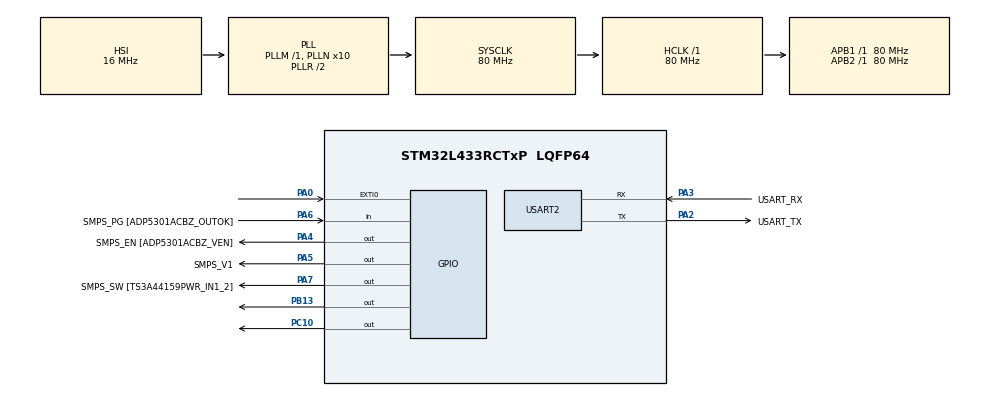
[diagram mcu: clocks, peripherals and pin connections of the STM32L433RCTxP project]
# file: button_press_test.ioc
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Mcu.Family=STM32L4
Mcu.Name=STM32L433RCTxP
Mcu.Package=LQFP64
NVIC.EXTI0_IRQn=true\:0\:0\:false\:false\:true\:true\:true\:true
NVIC.PriorityGroup=NVIC_PRIORITYGROUP_4
PA0.Signal=GPXTI0
PA13\ (JTMS-SWDIO).GPIO_Label=TMS
PA13\ (JTMS-SWDIO).Mode=Serial_Wire
PA13\ (JTMS-SWDIO).Signal=SYS_JTMS-SWDIO
PA14\ (JTCK-SWCLK).GPIO_Label=TCK
PA14\ (JTCK-SWCLK).Mode=Serial_Wire
PA14\ (JTCK-SWCLK).Signal=SYS_JTCK-SWCLK
PA2.GPIO_Label=USART_TX
PA2.GPIO_Mode=GPIO_MODE_AF_PP
PA2.GPIO_PuPd=GPIO_NOPULL
PA2.GPIO_Speed=GPIO_SPEED_FREQ_VERY_HIGH
PA2.Mode=Asynchronous
PA2.Signal=USART2_TX
PA3.GPIO_Label=USART_RX
PA3.GPIO_Mode=GPIO_MODE_AF_PP
PA3.GPIO_PuPd=GPIO_NOPULL
PA3.GPIO_Speed=GPIO_SPEED_FREQ_VERY_HIGH
PA3.Mode=Asynchronous
PA3.Signal=USART2_RX
PA4.GPIO_Label=SMPS_EN [ADP5301ACBZ_VEN]
PA4.Signal=GPIO_Output
PA5.GPIO_Label=SMPS_V1
PA5.GPIO_ModeDefaultOutputPP=GPIO_MODE_OUTPUT_PP
PA5.GPIO_PuPd=GPIO_NOPULL
PA5.GPIO_Speed=GPIO_SPEED_FREQ_LOW
PA5.Signal=GPIO_Output
PA6.GPIO_Label=SMPS_PG [ADP5301ACBZ_OUTOK]
PA6.GPIO_PuPd=GPIO_PULLUP
PA6.Signal=GPIO_Input
PA7.GPIO_Label=SMPS_SW [TS3A44159PWR_IN1_2]
PA7.Signal=GPIO_Output
PB13.Signal=GPIO_Output
PB3\ (JTDO-TRACESWO).GPIO_Label=SWO
PB3\ (JTDO-TRACESWO).Signal=SYS_JTDO-SWO
PC10.Signal=GPIO_Output
PC14-OSC32_IN\ (PC14).Mode=LSE-External-Oscillator
PC14-OSC32_IN\ (PC14).Signal=RCC_OSC32_IN
PC15-OSC32_OUT\ (PC15).Mode=LSE-External-Oscillator
PC15-OSC32_OUT\ (PC15).Signal=RCC_OSC32_OUT
PH0-OSC_IN\ (PH0).GPIO_Label=MCO
PH0-OSC_IN\ (PH0).Mode=HSE-External-Clock-Source
PH0-OSC_IN\ (PH0).Signal=RCC_OSC_IN
PH1-OSC_OUT\ (PH1).Signal=RCC_OSC_OUT
ProjectManager.HeapSize=0x200
ProjectManager.StackSize=0x400
ProjectManager.TargetToolchain=STM32CubeIDE
RCC.ADCFreq_Value=64000000
RCC.AHBFreq_Value=80000000
RCC.APB1Freq_Value=80000000
RCC.APB1TimFreq_Value=80000000
RCC.APB2Freq_Value=80000000
RCC.APB2TimFreq_Value=80000000
RCC.CortexFreq_Value=80000000
RCC.HCLKFreq_Value=80000000
RCC.HSE_VALUE=8000000
RCC.HSI48_VALUE=48000000
RCC.HSI_VALUE=16000000
RCC.MSI_VALUE=4000000
RCC.PLLN=10
RCC.PLLSourceVirtual=RCC_PLLSOURCE_HSI
RCC.PREFETCH_ENABLE=1
RCC.SYSCLKFreq_VALUE=80000000
RCC.SYSCLKSource=RCC_SYSCLKSOURCE_PLLCLK
RCC.USBFreq_Value=64000000
RCC.VCOOutputFreq_Value=160000000
USART2.VirtualMode-Asynchronous=VM_ASYNC
board=NUCLEO-L433RC-P

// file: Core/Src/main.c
/* USER CODE BEGIN Header */
/**
  ******************************************************************************
  * @file           : main.c
  * @brief          : Main program body
  ******************************************************************************
  * @attention
  *
  * Copyright (c) 2025 STMicroelectronics.
  * All rights reserved.
  *
  * This software is licensed under terms that can be found in the LICENSE file
  * in the root directory of this software component.
  * If no LICENSE file comes with this software, it is provided AS-IS.
  *
  ******************************************************************************
  */
/* USER CODE END Header */
#include "main.h"

/* USER CODE BEGIN Includes */
#include <stdbool.h>
/* USER CODE END Includes */

UART_HandleTypeDef huart2;

/* USER CODE BEGIN PV */
volatile bool singletap = false;
volatile bool doubletap = false;
volatile uint32_t last_press_time = 0;
volatile uint8_t tap_count = 0;
int count = 0;
bool flag_1 = false ;
bool flag_2 = 0 ;

//volatile uint8_t single_tab = 0;
//volatile uint8_t double_tab = 0;
//volatile uint8_t action_triggered = 0;
//volatile uint8_t interrupt_detected = 0;

//char msg[] = "Hello, world!\r\n";
/* USER CODE END PV */

void SystemClock_Config(void);
static void MX_GPIO_Init(void);
static void MX_USART2_UART_Init(void);

/* USER CODE BEGIN 0 */
void HAL_GPIO_EXTI_Callback(uint16_t GPIO_Pin)
{
	if (GPIO_Pin == GPIO_PIN_0)
	{
		uint32_t current_time = HAL_GetTick();

		if ((current_time - last_press_time) < 170)
		{
			return;  // Debounce
		}

		if (tap_count == 0)
		{
			last_press_time = current_time;
			tap_count = 1;
		}
		else if (tap_count == 1)
		{
			if ((current_time - last_press_time) < 400)
			{
				doubletap = 1;
				tap_count = 0;
			}
			else
			{
				tap_count = 1;
				last_press_time = current_time;
			}
		}
	}
}

/* USER CODE END 0 */

int main(void)
{

  /* MCU Configuration--------------------------------------------------------*/

  /* Reset of all peripherals, Initializes the Flash interface and the Systick. */
  HAL_Init();

  /* Configure the system clock */
  SystemClock_Config();

  /* Initialize all configured peripherals */
  MX_GPIO_Init();
  MX_USART2_UART_Init();

  /* Infinite loop */
  /* USER CODE BEGIN WHILE */
  while (1)
  {
  	// STEP 1: Single tap timeout check (400ms passed and no doubletap)
  	if (tap_count == 1 && !doubletap && (HAL_GetTick() - last_press_time > 400))
  	{
  		if (!flag_1)
  		{
  			singletap = 1;
  		}
  		tap_count = 0;
  	}

  	// STEP 2: Handle Single Tap
  	if (singletap)
  	{
  		singletap = 0;
  		doubletap = 0;

  		HAL_GPIO_TogglePin(GPIOB, GPIO_PIN_13);  //  PB13 only
  	}

  	// STEP 3: Handle Double Tap
  	if (doubletap)
  	{
  		count++;
  		doubletap = 0;
  		singletap = 0;

  		HAL_GPIO_TogglePin(GPIOC, GPIO_PIN_10);  //  PC10 only

  		flag_1 = 1;  //  Prevent single tap from running later
  	}

  	// STEP 4: Reset flag_1 after a short delay (so it doesn't block future single taps)
  	if (flag_1 && (HAL_GetTick() - last_press_time > 500))
  	{
  		flag_1 = 0;
  	}
  }

  /* USER CODE END 3 */
}

void SystemClock_Config(void)
{
  RCC_OscInitTypeDef RCC_OscInitStruct = {0};
  RCC_ClkInitTypeDef RCC_ClkInitStruct = {0};

  /** Configure the main internal regulator output voltage
  */
  if (HAL_PWREx_ControlVoltageScaling(PWR_REGULATOR_VOLTAGE_SCALE1) != HAL_OK)
  {
    Error_Handler();
  }

  /** Initializes the RCC Oscillators according to the specified parameters
  * in the RCC_OscInitTypeDef structure.
  */
  RCC_OscInitStruct.OscillatorType = RCC_OSCILLATORTYPE_HSI;
  RCC_OscInitStruct.HSIState = RCC_HSI_ON;
  RCC_OscInitStruct.HSICalibrationValue = RCC_HSICALIBRATION_DEFAULT;
  RCC_OscInitStruct.PLL.PLLState = RCC_PLL_ON;
  RCC_OscInitStruct.PLL.PLLSource = RCC_PLLSOURCE_HSI;
  RCC_OscInitStruct.PLL.PLLM = 1;
  RCC_OscInitStruct.PLL.PLLN = 10;
  RCC_OscInitStruct.PLL.PLLP = RCC_PLLP_DIV7;
  RCC_OscInitStruct.PLL.PLLQ = RCC_PLLQ_DIV2;
  RCC_OscInitStruct.PLL.PLLR = RCC_PLLR_DIV2;
  if (HAL_RCC_OscConfig(&RCC_OscInitStruct) != HAL_OK)
  {
    Error_Handler();
  }

  /** Initializes the CPU, AHB and APB buses clocks
  */
  RCC_ClkInitStruct.ClockType = RCC_CLOCKTYPE_HCLK|RCC_CLOCKTYPE_SYSCLK
                              |RCC_CLOCKTYPE_PCLK1|RCC_CLOCKTYPE_PCLK2;
  RCC_ClkInitStruct.SYSCLKSource = RCC_SYSCLKSOURCE_PLLCLK;
  RCC_ClkInitStruct.AHBCLKDivider = RCC_SYSCLK_DIV1;
  RCC_ClkInitStruct.APB1CLKDivider = RCC_HCLK_DIV1;
  RCC_ClkInitStruct.APB2CLKDivider = RCC_HCLK_DIV1;

  if (HAL_RCC_ClockConfig(&RCC_ClkInitStruct, FLASH_LATENCY_4) != HAL_OK)
  {
    Error_Handler();
  }
}

static void MX_USART2_UART_Init(void)
{

  /* USER CODE BEGIN USART2_Init 0 */
//
  /* USER CODE END USART2_Init 0 */

  /* USER CODE BEGIN USART2_Init 1 */
//
  /* USER CODE END USART2_Init 1 */
  huart2.Instance = USART2;
  huart2.Init.BaudRate = 115200;
  huart2.Init.WordLength = UART_WORDLENGTH_8B;
  huart2.Init.StopBits = UART_STOPBITS_1;
  huart2.Init.Parity = UART_PARITY_NONE;
  huart2.Init.Mode = UART_MODE_TX_RX;
  huart2.Init.HwFlowCtl = UART_HWCONTROL_NONE;
  huart2.Init.OverSampling = UART_OVERSAMPLING_16;
  huart2.Init.OneBitSampling = UART_ONE_BIT_SAMPLE_DISABLE;
  huart2.AdvancedInit.AdvFeatureInit = UART_ADVFEATURE_NO_INIT;
  if (HAL_UART_Init(&huart2) != HAL_OK)
  {
    Error_Handler();
  }
  /* USER CODE BEGIN USART2_Init 2 */
//
  /* USER CODE END USART2_Init 2 */

}

static void MX_GPIO_Init(void)
{
  GPIO_InitTypeDef GPIO_InitStruct = {0};

  /* GPIO Ports Clock Enable */
  __HAL_RCC_GPIOC_CLK_ENABLE();
  __HAL_RCC_GPIOH_CLK_ENABLE();
  __HAL_RCC_GPIOA_CLK_ENABLE();
  __HAL_RCC_GPIOB_CLK_ENABLE();

  /*Configure GPIO pin Output Level */
  HAL_GPIO_WritePin(GPIOA, SMPS_EN_Pin|SMPS_V1_Pin|SMPS_SW_Pin, GPIO_PIN_RESET);

  /*Configure GPIO pin Output Level */
  HAL_GPIO_WritePin(GPIOB, GPIO_PIN_13, GPIO_PIN_RESET);

  /*Configure GPIO pin Output Level */
  HAL_GPIO_WritePin(GPIOC, GPIO_PIN_10, GPIO_PIN_RESET);

  /*Configure GPIO pin : PA0 */
  GPIO_InitStruct.Pin = GPIO_PIN_0;
  GPIO_InitStruct.Mode = GPIO_MODE_IT_RISING;
  GPIO_InitStruct.Pull = GPIO_PULLUP;
  HAL_GPIO_Init(GPIOA, &GPIO_InitStruct);

  /*Configure GPIO pins : SMPS_EN_Pin SMPS_V1_Pin SMPS_SW_Pin */
  GPIO_InitStruct.Pin = SMPS_EN_Pin|SMPS_V1_Pin|SMPS_SW_Pin;
  GPIO_InitStruct.Mode = GPIO_MODE_OUTPUT_PP;
  GPIO_InitStruct.Pull = GPIO_NOPULL;
  GPIO_InitStruct.Speed = GPIO_SPEED_FREQ_LOW;
  HAL_GPIO_Init(GPIOA, &GPIO_InitStruct);

  /*Configure GPIO pin : SMPS_PG_Pin */
  GPIO_InitStruct.Pin = SMPS_PG_Pin;
  GPIO_InitStruct.Mode = GPIO_MODE_INPUT;
  GPIO_InitStruct.Pull = GPIO_PULLUP;
  HAL_GPIO_Init(SMPS_PG_GPIO_Port, &GPIO_InitStruct);

  /*Configure GPIO pin : PB13 */
  GPIO_InitStruct.Pin = GPIO_PIN_13;
  GPIO_InitStruct.Mode = GPIO_MODE_OUTPUT_PP;
  GPIO_InitStruct.Pull = GPIO_NOPULL;
  GPIO_InitStruct.Speed = GPIO_SPEED_FREQ_LOW;
  HAL_GPIO_Init(GPIOB, &GPIO_InitStruct);

  /*Configure GPIO pin : PC10 */
  GPIO_InitStruct.Pin = GPIO_PIN_10;
  GPIO_InitStruct.Mode = GPIO_MODE_OUTPUT_PP;
  GPIO_InitStruct.Pull = GPIO_NOPULL;
  GPIO_InitStruct.Speed = GPIO_SPEED_FREQ_LOW;
  HAL_GPIO_Init(GPIOC, &GPIO_InitStruct);

  /* EXTI interrupt init*/
  HAL_NVIC_SetPriority(EXTI0_IRQn, 0, 0);
  HAL_NVIC_EnableIRQ(EXTI0_IRQn);

}

void Error_Handler(void)
{
  __disable_irq();
  while (1)
  {
  }
}
